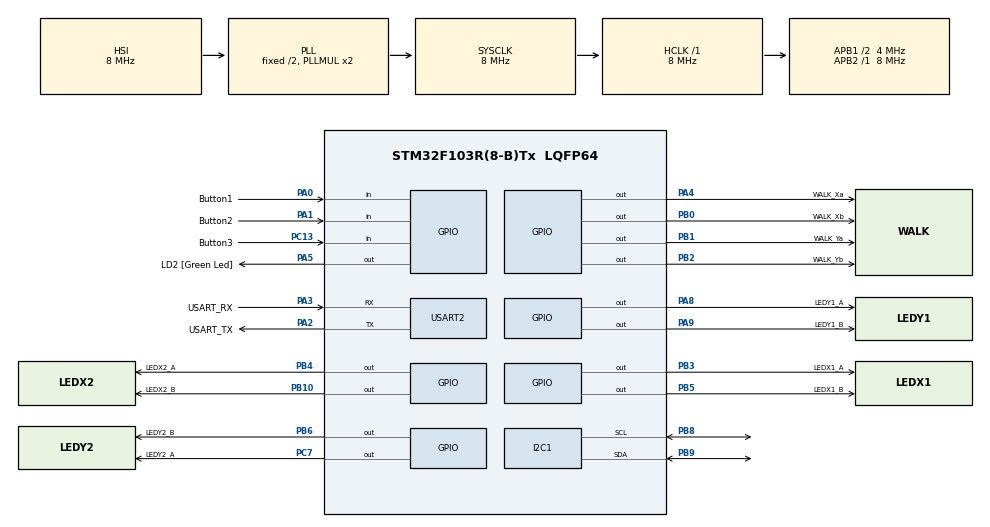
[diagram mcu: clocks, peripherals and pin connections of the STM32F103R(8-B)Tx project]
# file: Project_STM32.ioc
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Mcu.Family=STM32F1
Mcu.Name=STM32F103R(8-B)Tx
Mcu.Package=LQFP64
NVIC.PriorityGroup=NVIC_PRIORITYGROUP_4
NVIC.TIM2_IRQn=true\:0\:0\:false\:false\:true\:true\:true
PA0-WKUP.GPIO_Label=Button1
PA0-WKUP.GPIO_PuPd=GPIO_PULLUP
PA0-WKUP.Signal=GPIO_Input
PA1.GPIO_Label=Button2
PA1.GPIO_PuPd=GPIO_PULLUP
PA1.Signal=GPIO_Input
PA13.GPIO_Label=TMS
PA13.Mode=Serial_Wire
PA13.Signal=SYS_JTMS-SWDIO
PA14.GPIO_Label=TCK
PA14.Mode=Serial_Wire
PA14.Signal=SYS_JTCK-SWCLK
PA2.GPIO_Label=USART_TX
PA2.GPIO_Mode=GPIO_MODE_AF_PP
PA2.GPIO_PuPd=GPIO_NOPULL
PA2.GPIO_Speed=GPIO_SPEED_FREQ_LOW
PA2.Mode=Asynchronous
PA2.Signal=USART2_TX
PA3.GPIO_Label=USART_RX
PA3.GPIO_Mode=GPIO_MODE_AF_PP
PA3.GPIO_PuPd=GPIO_NOPULL
PA3.GPIO_Speed=GPIO_SPEED_FREQ_LOW
PA3.Mode=Asynchronous
PA3.Signal=USART2_RX
PA4.GPIO_Label=WALK_Xa
PA4.Signal=GPIO_Output
PA5.GPIO_Label=LD2 [Green Led]
PA5.GPIO_ModeDefaultOutputPP=GPIO_MODE_OUTPUT_PP
PA5.GPIO_PuPd=GPIO_NOPULL
PA5.GPIO_Speed=GPIO_SPEED_FREQ_LOW
PA5.Signal=GPIO_Output
PA8.GPIO_Label=LEDY1_A
PA8.Signal=GPIO_Output
PA9.GPIO_Label=LEDY1_B
PA9.Signal=GPIO_Output
PB0.GPIO_Label=WALK_Xb
PB0.Signal=GPIO_Output
PB1.GPIO_Label=WALK_Ya
PB1.Signal=GPIO_Output
PB10.GPIO_Label=LEDX2_B
PB10.Signal=GPIO_Output
PB2.GPIO_Label=WALK_Yb
PB2.Signal=GPIO_Output
PB3.GPIO_Label=LEDX1_A
PB3.Signal=GPIO_Output
PB4.GPIO_Label=LEDX2_A
PB4.Signal=GPIO_Output
PB5.GPIO_Label=LEDX1_B
PB5.Signal=GPIO_Output
PB6.GPIO_Label=LEDY2_B
PB6.Signal=GPIO_Output
PB8.Mode=I2C
PB8.Signal=I2C1_SCL
PB9.Mode=I2C
PB9.Signal=I2C1_SDA
PC13-TAMPER-RTC.GPIO_Label=Button3
PC13-TAMPER-RTC.Signal=GPIO_Input
PC14-OSC32_IN.Mode=LSE-External-Oscillator
PC14-OSC32_IN.Signal=RCC_OSC32_IN
PC15-OSC32_OUT.Mode=LSE-External-Oscillator
PC15-OSC32_OUT.Signal=RCC_OSC32_OUT
PC7.GPIO_Label=LEDY2_A
PC7.Signal=GPIO_Output
PD0-OSC_IN.Mode=HSE-External-Clock-Source
PD0-OSC_IN.Signal=RCC_OSC_IN
PD1-OSC_OUT.Mode=HSE-External-Clock-Source
PD1-OSC_OUT.Signal=RCC_OSC_OUT
ProjectManager.HeapSize=0x200
ProjectManager.StackSize=0x400
ProjectManager.TargetToolchain=STM32CubeIDE
RCC.AHBFreq_Value=8000000
RCC.APB1CLKDivider=RCC_HCLK_DIV2
RCC.APB1Freq_Value=4000000
RCC.APB1TimFreq_Value=8000000
RCC.APB2Freq_Value=8000000
RCC.APB2TimFreq_Value=8000000
RCC.HCLKFreq_Value=8000000
RCC.RTCClockSelection=RCC_RTCCLKSOURCE_LSE
RCC.SYSCLKFreq_VALUE=8000000
RCC.SYSCLKSource=RCC_SYSCLKSOURCE_PLLCLK
RCC.USBFreq_Value=8000000
TIM2.Period=9
TIM2.Prescaler=7999
USART2.VirtualMode=VM_ASYNC
VP_TIM2_VS_ClockSourceINT.Mode=Internal
board=NUCLEO-F103RB

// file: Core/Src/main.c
/* USER CODE BEGIN Header */
/**
  ******************************************************************************
  * @file           : main.c
  * @brief          : Main program body
  ******************************************************************************
  * @attention
  *
  * <h2><center>&copy; Copyright (c) 2024 STMicroelectronics.
  * All rights reserved.</center></h2>
  *
  * This software component is licensed by ST under BSD 3-Clause license,
  * the "License"; You may not use this file except in compliance with the
  * License. You may obtain a copy of the License at:
  *                        opensource.org/licenses/BSD-3-Clause
  *
  ******************************************************************************
  */
/* USER CODE END Header */
#include "main.h"

/* USER CODE BEGIN Includes */
#include "input_processing.h"
#include "fsm_automatic.h"
#include "timer.h"
#include "i2c-lcd.h"
#include "fsm_manual.h"
#include "fsm_manual_mode.h"
//#include "fsm_manual.h"
/* USER CODE END Includes */

I2C_HandleTypeDef hi2c1;

TIM_HandleTypeDef htim2;

UART_HandleTypeDef huart2;

void SystemClock_Config(void);
static void MX_GPIO_Init(void);
static void MX_USART2_UART_Init(void);
static void MX_TIM2_Init(void);
static void MX_I2C1_Init(void);

int main(void)
{

  /* MCU Configuration--------------------------------------------------------*/

  /* Reset of all peripherals, Initializes the Flash interface and the Systick. */
  HAL_Init();

  /* Configure the system clock */
  SystemClock_Config();

  /* Initialize all configured peripherals */
  MX_GPIO_Init();
  MX_USART2_UART_Init();
  MX_TIM2_Init();
  MX_I2C1_Init();
  /* USER CODE BEGIN 2 */
  HAL_TIM_Base_Start_IT(&htim2);
  lcd_init();
  /* USER CODE END 2 */

  /* Infinite loop */
  /* USER CODE BEGIN WHILE */
  statusx = INIT;
  statusy = INIT;
  counterMode = 1;
  counterTimeSet = 0;
  DisplayCounter = 0;
  setTimer(6, 10);
  setTimer(4, 500);
  setTimer(5, 500);
  while (1)
  {
  fsm_manual_run();
  fsm_automatic_runx();
  fsm_automatic_runy();
  fsm_manual_run1();
  fsm_manual_run2();
  fsm_for_input_processing1();
  fsm_for_input_processing2();
  fsm_for_input_processing3();

    /* USER CODE END WHILE */

  }
}

void SystemClock_Config(void)
{
  RCC_OscInitTypeDef RCC_OscInitStruct = {0};
  RCC_ClkInitTypeDef RCC_ClkInitStruct = {0};

  /** Initializes the RCC Oscillators according to the specified parameters
  * in the RCC_OscInitTypeDef structure.
  */
  RCC_OscInitStruct.OscillatorType = RCC_OSCILLATORTYPE_HSI;
  RCC_OscInitStruct.HSIState = RCC_HSI_ON;
  RCC_OscInitStruct.HSICalibrationValue = RCC_HSICALIBRATION_DEFAULT;
  RCC_OscInitStruct.PLL.PLLState = RCC_PLL_ON;
  RCC_OscInitStruct.PLL.PLLSource = RCC_PLLSOURCE_HSI_DIV2;
  RCC_OscInitStruct.PLL.PLLMUL = RCC_PLL_MUL2;
  if (HAL_RCC_OscConfig(&RCC_OscInitStruct) != HAL_OK)
  {
    Error_Handler();
  }
  /** Initializes the CPU, AHB and APB buses clocks
  */
  RCC_ClkInitStruct.ClockType = RCC_CLOCKTYPE_HCLK|RCC_CLOCKTYPE_SYSCLK
                              |RCC_CLOCKTYPE_PCLK1|RCC_CLOCKTYPE_PCLK2;
  RCC_ClkInitStruct.SYSCLKSource = RCC_SYSCLKSOURCE_PLLCLK;
  RCC_ClkInitStruct.AHBCLKDivider = RCC_SYSCLK_DIV1;
  RCC_ClkInitStruct.APB1CLKDivider = RCC_HCLK_DIV2;
  RCC_ClkInitStruct.APB2CLKDivider = RCC_HCLK_DIV1;

  if (HAL_RCC_ClockConfig(&RCC_ClkInitStruct, FLASH_LATENCY_0) != HAL_OK)
  {
    Error_Handler();
  }
}

static void MX_I2C1_Init(void)
{

  hi2c1.Instance = I2C1;
  hi2c1.Init.ClockSpeed = 100000;
  hi2c1.Init.DutyCycle = I2C_DUTYCYCLE_2;
  hi2c1.Init.OwnAddress1 = 0;
  hi2c1.Init.AddressingMode = I2C_ADDRESSINGMODE_7BIT;
  hi2c1.Init.DualAddressMode = I2C_DUALADDRESS_DISABLE;
  hi2c1.Init.OwnAddress2 = 0;
  hi2c1.Init.GeneralCallMode = I2C_GENERALCALL_DISABLE;
  hi2c1.Init.NoStretchMode = I2C_NOSTRETCH_DISABLE;
  if (HAL_I2C_Init(&hi2c1) != HAL_OK)
  {
    Error_Handler();
  }

}

static void MX_TIM2_Init(void)
{

  TIM_ClockConfigTypeDef sClockSourceConfig = {0};
  TIM_MasterConfigTypeDef sMasterConfig = {0};

  htim2.Instance = TIM2;
  htim2.Init.Prescaler = 7999;
  htim2.Init.CounterMode = TIM_COUNTERMODE_UP;
  htim2.Init.Period = 9;
  htim2.Init.ClockDivision = TIM_CLOCKDIVISION_DIV1;
  htim2.Init.AutoReloadPreload = TIM_AUTORELOAD_PRELOAD_DISABLE;
  if (HAL_TIM_Base_Init(&htim2) != HAL_OK)
  {
    Error_Handler();
  }
  sClockSourceConfig.ClockSource = TIM_CLOCKSOURCE_INTERNAL;
  if (HAL_TIM_ConfigClockSource(&htim2, &sClockSourceConfig) != HAL_OK)
  {
    Error_Handler();
  }
  sMasterConfig.MasterOutputTrigger = TIM_TRGO_RESET;
  sMasterConfig.MasterSlaveMode = TIM_MASTERSLAVEMODE_DISABLE;
  if (HAL_TIMEx_MasterConfigSynchronization(&htim2, &sMasterConfig) != HAL_OK)
  {
    Error_Handler();
  }

}

static void MX_USART2_UART_Init(void)
{

  huart2.Instance = USART2;
  huart2.Init.BaudRate = 115200;
  huart2.Init.WordLength = UART_WORDLENGTH_8B;
  huart2.Init.StopBits = UART_STOPBITS_1;
  huart2.Init.Parity = UART_PARITY_NONE;
  huart2.Init.Mode = UART_MODE_TX_RX;
  huart2.Init.HwFlowCtl = UART_HWCONTROL_NONE;
  huart2.Init.OverSampling = UART_OVERSAMPLING_16;
  if (HAL_UART_Init(&huart2) != HAL_OK)
  {
    Error_Handler();
  }

}

static void MX_GPIO_Init(void)
{
  GPIO_InitTypeDef GPIO_InitStruct = {0};

  /* GPIO Ports Clock Enable */
  __HAL_RCC_GPIOC_CLK_ENABLE();
  __HAL_RCC_GPIOD_CLK_ENABLE();
  __HAL_RCC_GPIOA_CLK_ENABLE();
  __HAL_RCC_GPIOB_CLK_ENABLE();

  /*Configure GPIO pin Output Level */
  HAL_GPIO_WritePin(GPIOA, WALK_Xa_Pin|LD2_Pin|LEDY1_A_Pin|LEDY1_B_Pin, GPIO_PIN_RESET);

  /*Configure GPIO pin Output Level */
  HAL_GPIO_WritePin(GPIOB, WALK_Xb_Pin|WALK_Ya_Pin|WALK_Yb_Pin|LEDX2_B_Pin
                          |LEDX1_A_Pin|LEDX2_A_Pin|LEDX1_B_Pin|LEDY2_B_Pin, GPIO_PIN_RESET);

  /*Configure GPIO pin Output Level */
  HAL_GPIO_WritePin(LEDY2_A_GPIO_Port, LEDY2_A_Pin, GPIO_PIN_RESET);

  /*Configure GPIO pin : Button3_Pin */
  GPIO_InitStruct.Pin = Button3_Pin;
  GPIO_InitStruct.Mode = GPIO_MODE_INPUT;
  GPIO_InitStruct.Pull = GPIO_NOPULL;
  HAL_GPIO_Init(Button3_GPIO_Port, &GPIO_InitStruct);

  /*Configure GPIO pins : Button1_Pin Button2_Pin */
  GPIO_InitStruct.Pin = Button1_Pin|Button2_Pin;
  GPIO_InitStruct.Mode = GPIO_MODE_INPUT;
  GPIO_InitStruct.Pull = GPIO_PULLUP;
  HAL_GPIO_Init(GPIOA, &GPIO_InitStruct);

  /*Configure GPIO pins : WALK_Xa_Pin LD2_Pin LEDY1_A_Pin LEDY1_B_Pin */
  GPIO_InitStruct.Pin = WALK_Xa_Pin|LD2_Pin|LEDY1_A_Pin|LEDY1_B_Pin;
  GPIO_InitStruct.Mode = GPIO_MODE_OUTPUT_PP;
  GPIO_InitStruct.Pull = GPIO_NOPULL;
  GPIO_InitStruct.Speed = GPIO_SPEED_FREQ_LOW;
  HAL_GPIO_Init(GPIOA, &GPIO_InitStruct);

  /*Configure GPIO pins : WALK_Xb_Pin WALK_Ya_Pin WALK_Yb_Pin LEDX2_B_Pin
                           LEDX1_A_Pin LEDX2_A_Pin LEDX1_B_Pin LEDY2_B_Pin */
  GPIO_InitStruct.Pin = WALK_Xb_Pin|WALK_Ya_Pin|WALK_Yb_Pin|LEDX2_B_Pin
                          |LEDX1_A_Pin|LEDX2_A_Pin|LEDX1_B_Pin|LEDY2_B_Pin;
  GPIO_InitStruct.Mode = GPIO_MODE_OUTPUT_PP;
  GPIO_InitStruct.Pull = GPIO_NOPULL;
  GPIO_InitStruct.Speed = GPIO_SPEED_FREQ_LOW;
  HAL_GPIO_Init(GPIOB, &GPIO_InitStruct);

  /*Configure GPIO pin : LEDY2_A_Pin */
  GPIO_InitStruct.Pin = LEDY2_A_Pin;
  GPIO_InitStruct.Mode = GPIO_MODE_OUTPUT_PP;
  GPIO_InitStruct.Pull = GPIO_NOPULL;
  GPIO_InitStruct.Speed = GPIO_SPEED_FREQ_LOW;
  HAL_GPIO_Init(LEDY2_A_GPIO_Port, &GPIO_InitStruct);

}

void Error_Handler(void)
{
  __disable_irq();
  while (1)
  {
  }
}

/************************ (C) COPYRIGHT STMicroelectronics *****END OF FILE****/
